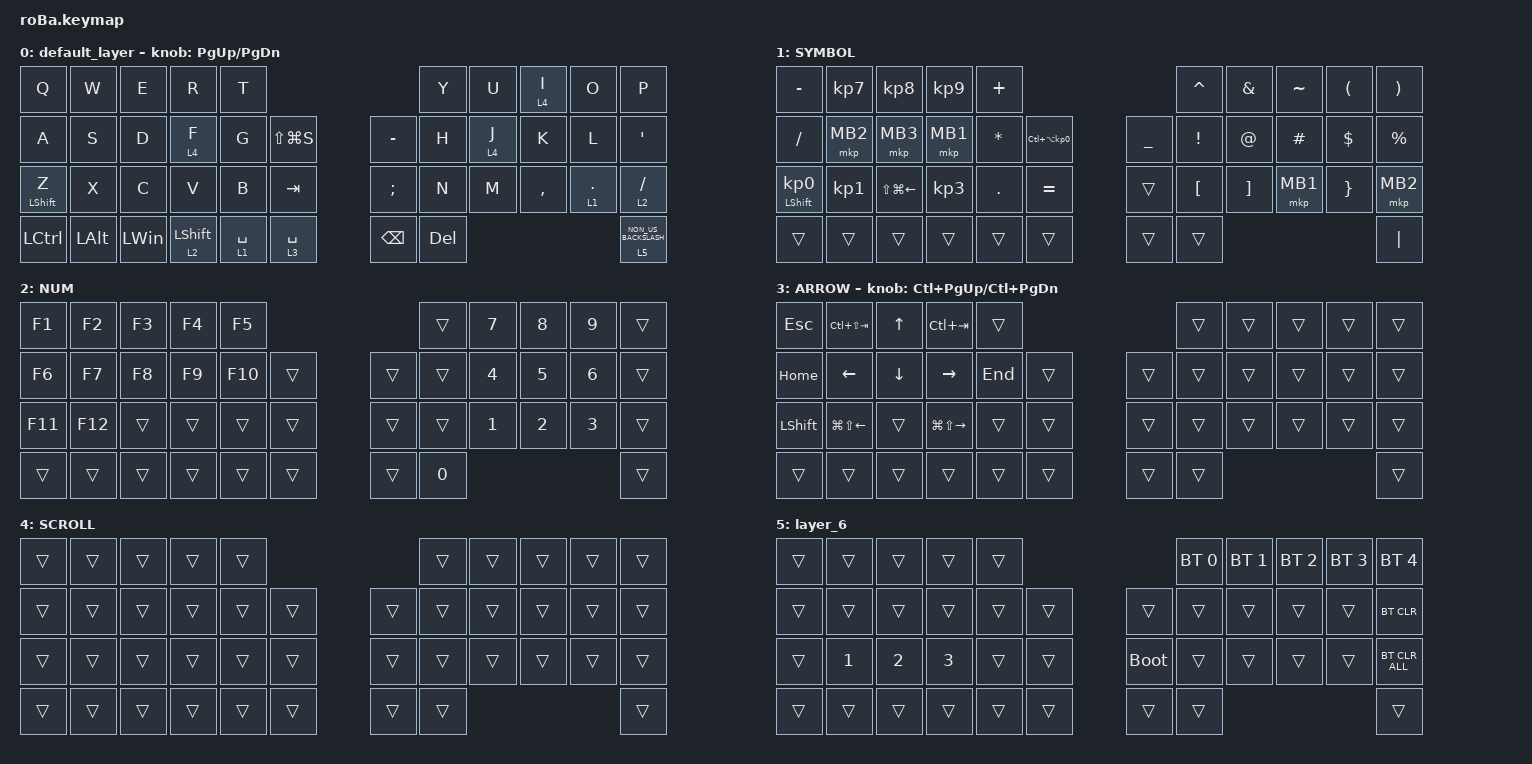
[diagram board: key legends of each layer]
#include <behaviors.dtsi>
#include <dt-bindings/zmk/bt.h>
#include <dt-bindings/zmk/keys.h>
#include <dt-bindings/zmk/pointing.h>

&mt {
    flavor = "balanced";
    quick-tap-ms = <0>;
};

&trackball {
    automouse-layer = <4>;
    scroll-layers = <5>;

    // arrows {
    //     layers = <3>;
    //     bindings =
    //         <&kp RIGHT_ARROW>,
    //         <&kp LEFT_ARROW>,
    //         <&kp UP_ARROW>,
    //         <&kp DOWN_ARROW>;
    //     tick = <10>;
    //     wait-ms = <5>;
    //     tap-ms = <5>;
    // };
};

/ {
    combos {
        compatible = "zmk,combos";

        tab {
            bindings = <&kp TAB>;
            key-positions = <11 12>;
        };

        shift_tab {
            bindings = <&kp LS(TAB)>;
            key-positions = <12 13>;
        };

        muhennkann {
            bindings = <&to_layer_0 INT_MUHENKAN>;
            key-positions = <11 10>;
        };

        double_quotation {
            bindings = <&kp DOUBLE_QUOTES>;
            key-positions = <20 21>;
        };

        eq {
            bindings = <&kp EQUAL>;
            key-positions = <24 25>;
        };
    };

    macros {
        to_layer_0: to_layer_0 {
            compatible = "zmk,behavior-macro-one-param";
            #binding-cells = <1>;
            bindings = <&to 0 &macro_param_1to1 &kp MACRO_PLACEHOLDER>;
            label = "TO_LAYER_0";
        };
    };

    behaviors {
        lt_to_layer_0: lt_to_layer_0 {
            compatible = "zmk,behavior-hold-tap";
            label = "LAYER_TAP_TO_0";
            bindings = <&mo>, <&to_layer_0>;

            #binding-cells = <2>;
            tapping-term-ms = <200>;
        };
    };

    keymap {
        compatible = "zmk,keymap";

        default_layer {
            bindings = <
&kp Q             &kp W         &kp E         &kp R             &kp T                                                   &kp Y       &kp U    &lt 4 I    &kp O      &kp P
&kp A             &kp S         &kp D         &lt 4 F           &kp G        &kp LS(LG(S))               &kp MINUS      &kp H       &lt 4 J  &kp K      &kp L      &kp SQT
&mt LEFT_SHIFT Z  &kp X         &kp C         &kp V             &kp B        &kp TAB                     &kp SEMICOLON  &kp N       &kp M    &kp COMMA  &lt 1 DOT  &lt 2 SLASH
&kp LCTRL         &kp LEFT_ALT  &kp LEFT_WIN  &lt 2 LEFT_SHIFT  &lt 1 SPACE  &lt_to_layer_0 3 SPACE      &kp BACKSPACE  &kp DELETE                                 &lt 5 NON_US_BACKSLASH
            >;

            sensor-bindings = <&inc_dec_kp PG_UP PAGE_DOWN>;
        };

        SYMBOL {
            bindings = <
&kp MINUS                   &kp KP_NUMBER_7  &kp KP_NUMBER_8         &kp KP_NUMBER_9  &kp PLUS                                                   &kp CARET         &kp AMPERSAND      &kp TILDE  &kp LEFT_PARENTHESIS  &kp RIGHT_PARENTHESIS
&kp SLASH                   &mkp MB2         &mkp MB3                &mkp MB1         &kp ASTERISK  &kp LC(LA(KP_NUMBER_0))      &kp UNDERSCORE  &kp EXCLAMATION   &kp AT_SIGN        &kp HASH   &kp DOLLAR            &kp PERCENT
&mt LEFT_SHIFT KP_NUMBER_0  &kp KP_NUMBER_1  &kp LS(LG(LEFT_ARROW))  &kp KP_NUMBER_3  &kp PERIOD    &kp EQUAL                    &trans          &kp LEFT_BRACKET  &kp RIGHT_BRACKET  &mkp MB1   &kp RIGHT_BRACE       &mkp MB2
&trans                      &trans           &trans                  &trans           &trans        &trans                       &trans          &trans                                                                &kp PIPE
            >;
        };

        NUM {
            bindings = <
&kp F1   &kp F2   &kp F3  &kp F4  &kp F5                       &trans        &kp N7        &kp N8        &kp N9        &trans
&kp F6   &kp F7   &kp F8  &kp F9  &kp F10  &trans      &trans  &trans        &kp NUMBER_4  &kp N5        &kp NUMBER_6  &trans
&kp F11  &kp F12  &trans  &trans  &trans   &trans      &trans  &trans        &kp NUMBER_1  &kp NUMBER_2  &kp NUMBER_3  &trans
&trans   &trans   &trans  &trans  &trans   &trans      &trans  &kp NUMBER_0                                            &trans
            >;
        };

        ARROW {
            bindings = <
&kp ESCAPE      &kp LC(LS(TAB))         &kp UP_ARROW    &kp LC(TAB)              &trans                       &trans  &trans  &trans  &trans  &trans
&kp HOME        &kp LEFT_ARROW          &kp DOWN_ARROW  &kp RIGHT_ARROW          &kp END  &trans      &trans  &trans  &trans  &trans  &trans  &trans
&kp LEFT_SHIFT  &kp LG(LS(LEFT_ARROW))  &trans          &kp LG(LS(RIGHT_ARROW))  &trans   &trans      &trans  &trans  &trans  &trans  &trans  &trans
&trans          &trans                  &trans          &trans                   &trans   &trans      &trans  &trans                          &trans
            >;

            sensor-bindings = <&inc_dec_kp LC(PAGE_UP) LC(PAGE_DOWN)>;
        };

        SCROLL {
            bindings = <
&trans  &trans  &trans  &trans  &trans                      &trans  &trans  &trans  &trans  &trans
&trans  &trans  &trans  &trans  &trans  &trans      &trans  &trans  &trans  &trans  &trans  &trans
&trans  &trans  &trans  &trans  &trans  &trans      &trans  &trans  &trans  &trans  &trans  &trans
&trans  &trans  &trans  &trans  &trans  &trans      &trans  &trans                          &trans
            >;
        };

        layer_6 {
            bindings = <
&trans  &trans        &trans        &trans        &trans                           &bt BT_SEL 0  &bt BT_SEL 1  &bt BT_SEL 2  &bt BT_SEL 3  &bt BT_SEL 4
&trans  &trans        &trans        &trans        &trans  &trans      &trans       &trans        &trans        &trans        &trans        &bt BT_CLR
&trans  &kp NUMBER_1  &kp NUMBER_2  &kp NUMBER_3  &trans  &trans      &bootloader  &trans        &trans        &trans        &trans        &bt BT_CLR_ALL
&trans  &trans        &trans        &trans        &trans  &trans      &trans       &trans                                                  &trans
            >;
        };
    };
};
